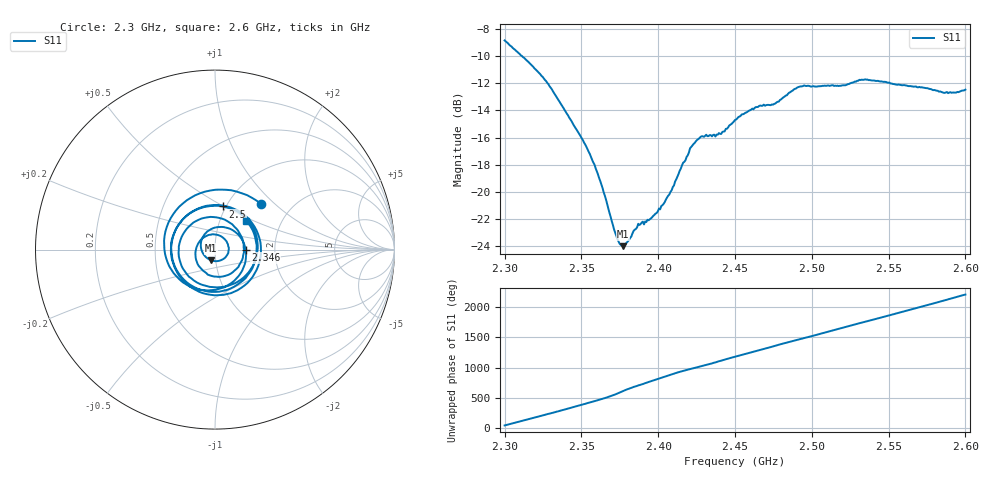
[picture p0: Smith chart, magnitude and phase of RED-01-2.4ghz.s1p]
! NanoVNA-App
! Date: 2026-05-22 18:31:29
! Start: 2.3GHz Stop: 2.6GHz Points: 401
! S-Parameter data: F S11
# Hz S RI R 50
!  Frequency  S11_Real  S11_Imag
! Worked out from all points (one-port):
!   401 points, 2.3 GHz to 2.6 GHz, reference 50 ohm
!   lowest |S11| = -24.0 dB at 2.377 GHz (marker M1), VSWR 1.13, Z = 47.7 - j5.73 ohm
!   |S11| at or under -10 dB: 2.311 GHz to end of sweep
!   S11 on the Smith chart (normalised r, x): 2.3 GHz: 1.41, +0.82; 2.346 GHz: 1.41, -0.00; 2.5 GHz: 0.97, +0.50; 2.6 GHz: 1.33, +0.46
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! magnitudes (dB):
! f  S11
! 2.3 GHz  -8.9
! 2.324 GHz  -11.5
! 2.337 GHz  -13.7
! 2.346 GHz  -15.4
! 2.354 GHz  -16.9
! 2.359 GHz  -18.3
! 2.365 GHz  -20.0
! 2.372 GHz  -23.0
! 2.375 GHz  -23.8
! 2.377 GHz  -24.0
! 2.389 GHz  -22.4
! 2.4 GHz  -21.4
! 2.407 GHz  -20.2
! 2.413 GHz  -18.9
! 2.421 GHz  -16.7
! 2.426 GHz  -16.1
! 2.442 GHz  -15.6
! 2.45 GHz  -14.7
! 2.464 GHz  -13.8
! 2.476 GHz  -13.5
! 2.487 GHz  -12.5
! 2.494 GHz  -12.2
! 2.5 GHz  -12.2
! 2.525 GHz  -12.0
! 2.535 GHz  -11.7
! 2.562 GHz  -12.2
! 2.587 GHz  -12.7
! 2.6 GHz  -12.5
